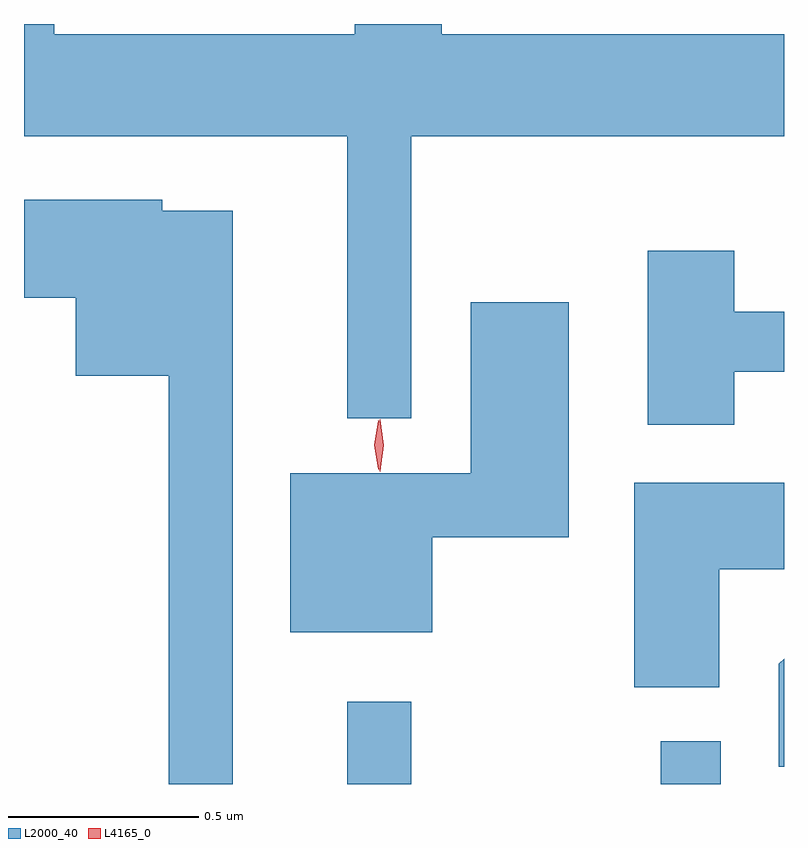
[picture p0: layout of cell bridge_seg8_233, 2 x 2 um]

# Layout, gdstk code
import gdstk
lib = gdstk.Library(unit=1e-6, precision=1e-09)
def R(c, l, rs):  # rectangles x0, y0, x1, y1
    for r in rs: c.add(gdstk.rectangle(r[:2], r[2:], *l))
def P(c, l, *ps):  # polygons
    for p in ps: c.add(gdstk.Polygon(p, *l))
L2000_40 = (2000, 40)
L4165_0 = (4165, 0)

bridge_seg8_233 = lib.new_cell('bridge_seg8_233')
R(bridge_seg8_233, L2000_40, [(1144.341,1907.971,1144.509,1908.188), (1145.166,1907.971,1145.324,1908.083)])
P(bridge_seg8_233, L2000_40, [(1144.509,1909.676),(1145.49,1909.676),(1145.49,1909.944),(1144.589,1909.944),(1144.589,1909.971),(1144.361,1909.971),(1144.361,1909.944),(1143.569,1909.944),(1143.569,1909.971),(1143.49,1909.971),(1143.49,1909.676),(1144.341,1909.676),(1144.341,1908.933),(1144.509,1908.933)],
  [(1144.039,1909.479),(1143.854,1909.479),(1143.854,1909.509),(1143.49,1909.509),(1143.49,1909.251),(1143.626,1909.251),(1143.626,1909.046),(1143.871,1909.046),(1143.871,1907.971),(1144.039,1907.971)],
  [(1145.359,1909.056),(1145.49,1909.056),(1145.49,1909.214),(1145.359,1909.214),(1145.359,1909.374),(1145.131,1909.374),(1145.131,1908.916),(1145.359,1908.916)],
  [(1144.564,1908.621),(1144.924,1908.621),(1144.924,1909.239),(1144.666,1909.239),(1144.666,1908.789),(1144.191,1908.789),(1144.191,1908.371),(1144.564,1908.371)],
  [(1145.319,1908.536),(1145.49,1908.536),(1145.49,1908.764),(1145.096,1908.764),(1145.096,1908.226),(1145.319,1908.226)],
  [(1145.49,1908.301),(1145.476,1908.287),(1145.476,1908.016),(1145.49,1908.016)])
P(bridge_seg8_233, L4165_0, [(1144.422,1908.799),(1144.422,1908.799),(1144.412,1908.863),(1144.422,1908.927),(1144.422,1908.928),(1144.423,1908.927),(1144.432,1908.863),(1144.423,1908.799)],
  [(1144.427,1908.793),(1144.426,1908.794),(1144.417,1908.862),(1144.426,1908.93),(1144.427,1908.931),(1144.427,1908.93),(1144.437,1908.862),(1144.427,1908.794)])

lib.write_gds('bridge_seg8_233.gds')
